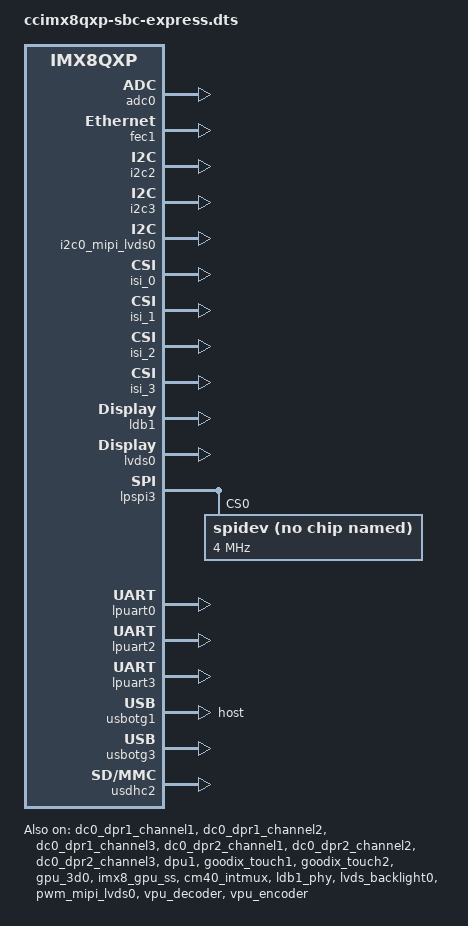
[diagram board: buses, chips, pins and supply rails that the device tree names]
/*
 * Copyright 2018, 2019 Digi International Inc.
 *
 * Permission to use, copy, modify, and/or distribute this software for any
 * purpose with or without fee is hereby granted, provided that the above
 * copyright notice and this permission notice appear in all copies.
 * THE SOFTWARE IS PROVIDED "AS IS" AND THE AUTHOR DISCLAIMS ALL WARRANTIES
 * WITH REGARD TO THIS SOFTWARE INCLUDING ALL IMPLIED WARRANTIES OF
 * MERCHANTABILITY AND FITNESS. IN NO EVENT SHALL THE AUTHOR BE LIABLE FOR
 * ANY SPECIAL, DIRECT, INDIRECT, OR CONSEQUENTIAL DAMAGES OR ANY DAMAGES
 * WHATSOEVER RESULTING FROM LOSS OF USE, DATA OR PROFITS, WHETHER IN AN
 * ACTION OF CONTRACT, NEGLIGENCE OR OTHER TORTIOUS ACTION, ARISING OUT OF
 * OR IN CONNECTION WITH THE USE OR PERFORMANCE OF THIS SOFTWARE.
 */

/dts-v1/;

/* i.MX8QXP CPU */
#include "../freescale/imx8qxp.dtsi"
/* Digi ConnectCore 8X (non-WiFi variant) */
#include "ccimx8x.dtsi"
/* Digi ConnectCore 8X SBC Express */
#include "ccimx8x-sbc-express.dtsi"

/*
 * i.MX8X ADC channels on Raspberry Pi Expansion connector:
 *  - ADC_IN0 (channel 0)
 *  - ADC_IN1 (channel 1)
 * Include in digi,adc-ch-list the ADC channels (from 0 to 5) that you want to
 * enable. Note that the iomux has to be configured accordingly in pinctrl_adc0
 * to configure the pads for ADC operation. Make sure to remove them from
 * pinctrl_expansion where they may already be configured with another use.
 */
&adc0 {
	pinctrl-names = "default";
	pinctrl-0 = <&pinctrl_adc0>;
	digi,adc-ch-list = <0>;
	status = "okay";
};

&dc0_dpr1_channel1 {
	status = "okay";
};

&dc0_dpr1_channel2 {
	status = "okay";
};

&dc0_dpr1_channel3 {
	status = "okay";
};

&dc0_dpr2_channel1 {
	status = "okay";
};

&dc0_dpr2_channel2 {
	status = "okay";
};

&dc0_dpr2_channel3 {
	status = "okay";
};

&dpu1 {
	status = "okay";
};

&fec1 {
	status = "okay";
};

/*
 * CAN0 port conflicts with LPUART0 RTS/CTS lines.
 * Before enabling the port you need to configure
 * lpuart0 node as 2 wires.
 */
&flexcan1 {
	status = "disabled";
};

/*
 * CAN1 port's pins are configured as GPIO by
 * default. Before enabling the port, you must remove
 * the IMX8QXP_FLEXCAN1_RX_LSIO_GPIO1_IO17 and
 * IMX8QXP_FLEXCAN1_TX_LSIO_GPIO1_IO18 entries from
 * the pinctrl_expansion node.
 */
&flexcan2 {
	status = "disabled";
};

/*
 * CAN2 port's pins are configured as GPIO by
 * default. Before enabling the port, you must remove
 * the IMX8QXP_FLEXCAN2_RX_LSIO_GPIO1_IO19 and
 * IMX8QXP_FLEXCAN2_TX_LSIO_GPIO1_IO20 entries from
 * the pinctrl_expansion node.
 */
&flexcan3 {
	status = "disabled";
};

/*
 * On the CC8X SBC, an inconsistent reset sequence makes
 * the Goodix display's touch controller respond to two I2C
 * addresses: 0x14 and 0x5D. To make sure the touchscreen
 * works every time, the touch controller's description must
 * be duplicated for both addresses.
 */
&goodix_touch1 {
	status = "okay";
};

&goodix_touch2 {
	status = "okay";
};

&gpu_3d0 {
	status = "okay";
};

/* I2C2 available on Raspberry Pi expansion header */
&i2c2 {
	status = "okay";
};

/* I2C3 available on Raspberry Pi expansion header */
&i2c3 {
	status = "okay";
};

/* MIPI-DSI0 I2C available on LVDS connector */
&i2c0_mipi_lvds0 {
	status = "okay";
};

&imx8_gpu_ss {
	status = "okay";
};

&cm40_intmux {
	status = "okay";
};

&isi_0 {
	status = "okay";
};

&isi_1 {
	status = "okay";
};

&isi_2 {
	status = "okay";
};

&isi_3 {
	status = "okay";
};

&ldb1 {
	status = "okay";
};

&ldb1_phy {
	status = "okay";
};

&lvds0 {
	status = "okay";
};

&lvds_backlight0 {
	status = "okay";
};

&pwm_mipi_lvds0 {
	status = "okay";
};

/* LPSPI3 on Raspberry Pi expansion header */
&lpspi3 {
	status = "okay";

	/*
	 * Add your slave devices here. Next is an example of spidev.
	 * Expect a harmless kernel warning if you enable spidev as slave.
	 */
	spidev@0 {
		compatible = "spidev";
		reg = <0>;
		spi-max-frequency = <4000000>;
	};
};

/* LPUART0 on XBee socket */
&lpuart0 {
	/* RTS/CTS lines multiplexed with CAN0 */
	pinctrl-0 = <&pinctrl_lpuart0_4wires>, <&pinctrl_xbee_gpios>;
	/* Comment the line above and uncomment the next one to use 2-wires */
	//pinctrl-0 = <&pinctrl_lpuart0_2wires>, <&pinctrl_xbee_gpios>;
	status = "okay";
};

/* Console */
&lpuart2 {
	status = "okay";
};

/* LPUART3 on expansion header */
&lpuart3 {
	status = "okay";
};

/*
 * Uncomment to enable MCA ADC channels on Rasberry Pi Expansion connector:
 *  - MCA_IO1 (channel 1)
 *  - MCA_IO2 (channel 2)
 *  - MCA_IO3 (channel 3)
 *  - MCA_IO4 (channel 4)
 *  - MCA_IO5 (channel 5)
 *  - MCA_IO6 (channel 6)
 *  - MCA_IO7 (channel 7)
 *  - MCA_IO8 (channel 8)
 * Edit adc-ch-list to include the ADC channels that you want to enable.
 */
// &mca_adc {
//	digi,adc-ch-list = <1 2 3 4 5 6 7 8>;
//	digi,adc-vref = <3000000>;
// };

/*
 * Uncomment to Enable Tamper detection. There are 2 digital (0 and 1) and 2
 * analog (2 and 3) tamper interfaces.
 */
//&mca_tamper {
//	digi,tamper-if-list = <0 1 2 3>;
//};

/* Uncomment to enable MCA UARTs. */
//&mca_uart {
//	status = "okay";

	/* Uncomment to enable MCA UART0. Assign the IO pins (see bindings) */
//	mca_uart0: serial@0x900 {
//		iopins-names = "rx", "tx";
//		iopins = <9 10>;
//	};

	/* Uncomment to enable MCA UART2. Assign the IO pins (see bindings) */
//	mca_uart2: serial@940 {
//		iopins-names = "rx", "tx";
//		iopins = <2 1>;
//	};
//};

/* USB_OTG1 */
&usbotg1 {
	/*
	 * To configure this USB controller as a device set dr_mode to "otg";
	 * to configure it as a host set to "host" instead.
	 */
	dr_mode = "host";
	status = "okay";
};

/* USB_OTG2 */
&usbotg3 {
	status = "okay";
};

/* Micro SD card */
&usdhc2 {
	status = "okay";
};

&vpu_decoder {
	status = "okay";
};

&vpu_encoder {
	status = "okay";
};

/* IOMUX */
&iomuxc {
	pinctrl-0 = <&pinctrl_hog>, <&pinctrl_expansion>;

	/* Raspberry Pi Expansion Connector */
	pinctrl_expansion: expansiongrp {
		fsl,pins = <
			/*
			 * Comment the pads you wish to use on any
			 * device driver, and uncomment the ones you
			 * want to use as GPIO (requires disabling the
			 * driver that manages them).
			 */
			IMX8QXP_MIPI_DSI0_GPIO0_01_LSIO_GPIO1_IO28	0x06000020
			IMX8QXP_USDHC1_WP_LSIO_GPIO4_IO21		0x06000020
			IMX8QXP_USDHC1_CD_B_LSIO_GPIO4_IO22	0x06000020
			IMX8QXP_MIPI_DSI1_I2C0_SCL_LSIO_GPIO1_IO29	0x06000020
			IMX8QXP_MIPI_DSI1_I2C0_SDA_LSIO_GPIO1_IO30	0x06000020
			IMX8QXP_QSPI0A_SS1_B_LSIO_GPIO3_IO15	0x06000020
			IMX8QXP_USDHC1_VSELECT_LSIO_GPIO4_IO20	0x06000020
			IMX8QXP_ENET0_RGMII_RXC_LSIO_GPIO5_IO03	0x06000020

			/* Remove these if you wish to use the flexcan2 interface */
			IMX8QXP_FLEXCAN1_RX_LSIO_GPIO1_IO17	0x06000020
			IMX8QXP_FLEXCAN1_TX_LSIO_GPIO1_IO18	0x06000020

			/* Remove these if you wish to use the flexcan3 interface */
			IMX8QXP_FLEXCAN2_RX_LSIO_GPIO1_IO19	0x06000020
			IMX8QXP_FLEXCAN2_TX_LSIO_GPIO1_IO20	0x06000020
		>;
	};

	/* Uncomment the pads you wish to use as ADCs */
	pinctrl_adc0: adc0grp {
		fsl,pins = <
			/* ADC_IN0 */
			IMX8QXP_ADC_IN0_ADMA_ADC_IN0		0xc0000060
	//		/* ADC_IN1 */
	//		IMX8QXP_ADC_IN1_ADMA_ADC_IN1		0xc0000060
		>;
	};
};
